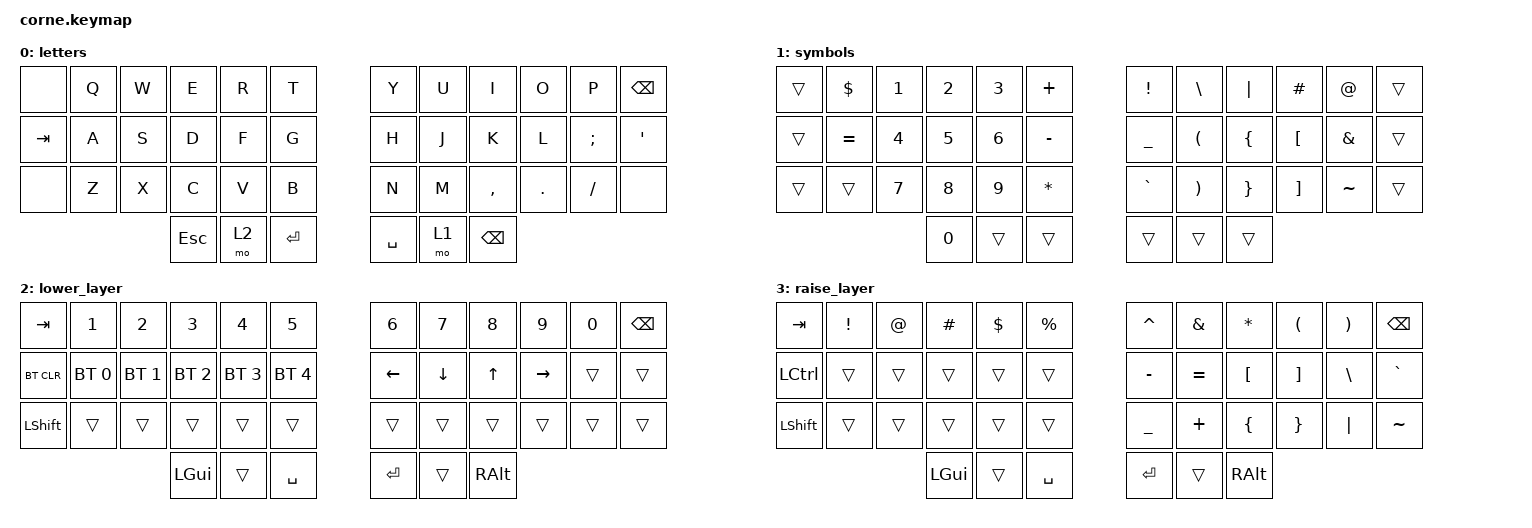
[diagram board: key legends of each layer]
/*
 * Copyright (c) 2020 The ZMK Contributors
 *
 * SPDX-License-Identifier: MIT
 */

#include <behaviors.dtsi>
#include <dt-bindings/zmk/bt.h>
#include <dt-bindings/zmk/keys.h>

/ {
    combos {
        compatible = "zmk,combos";

        left-shift {
            bindings = <&kp LEFT_SHIFT>;
            key-positions = <16 28>;
        };

        left-ctrl {
            bindings = <&kp LEFT_CONTROL>;
            key-positions = <15 27>;
        };

        left-alt {
            bindings = <&kp LEFT_ALT>;
            key-positions = <14 26>;
        };

        left-gui {
            bindings = <&kp LEFT_GUI>;
            key-positions = <13 25>;
        };

        right_shift {
            bindings = <&kp RIGHT_SHIFT>;
            key-positions = <19 31>;
        };

        right_ctrl {
            bindings = <&kp RIGHT_CONTROL>;
            key-positions = <20 32>;
        };

        right_alt {
            bindings = <&kp RIGHT_ALT>;
            key-positions = <21 33>;
        };

        right_gui {
            bindings = <&kp RIGHT_GUI>;
            key-positions = <22 34>;
        };
    };

    keymap {
        compatible = "zmk,keymap";

        letters {
            // -----------------------------------------------------------------------------------------
            // |  TAB |  Q  |  W  |  E  |  R  |  T  |   |  Y  |  U   |  I  |  O  |  P  | BSPC |
            // | CTRL |  A  |  S  |  D  |  F  |  G  |   |  H  |  J   |  K  |  L  |  ;  |  '   |
            // | SHFT |  Z  |  X  |  C  |  V  |  B  |   |  N  |  M   |  ,  |  .  |  /  | ESC  |
            //                    | GUI | LWR | SPC |   | ENT | RSE  | ALT |

            bindings = <
&none    &kp Q  &kp W  &kp E    &kp R  &kp T      &kp Y      &kp U  &kp I          &kp O    &kp P     &kp BSPC
&kp TAB  &kp A  &kp S  &kp D    &kp F  &kp G      &kp H      &kp J  &kp K          &kp L    &kp SEMI  &kp SQT
&none    &kp Z  &kp X  &kp C    &kp V  &kp B      &kp N      &kp M  &kp COMMA      &kp DOT  &kp FSLH  &none
                       &kp ESC  &mo 2  &kp RET    &kp SPACE  &mo 1  &kp BACKSPACE
            >;

            label = "letters";
        };

        nums+symbols {
            bindings = <
&trans  &kp DOLLAR  &kp N1  &kp N2  &kp N3  &kp PLUS        &kp EXCLAMATION  &kp BACKSLASH          &kp PIPE         &kp HASH  &kp AT_SIGN    &trans
&trans  &kp EQUAL   &kp N4  &kp N5  &kp N6  &kp MINUS       &kp UNDER        &kp LEFT_PARENTHESIS   &kp LEFT_BRACE   &kp LBKT  &kp AMPERSAND  &trans
&trans  &trans      &kp N7  &kp N8  &kp N9  &kp ASTERISK    &kp GRAVE        &kp RIGHT_PARENTHESIS  &kp RIGHT_BRACE  &kp RBKT  &kp TILDE      &trans
                            &kp N0  &trans  &trans          &trans           &trans                 &trans
            >;

            label = "symbols";
        };

        lower_layer {
            // -----------------------------------------------------------------------------------------
            // |  TAB |  1  |  2  |  3  |  4  |  5  |   |  6  |  7  |  8  |  9  |  0  | BSPC |
            // | BTCLR| BT1 | BT2 | BT3 | BT4 | BT5 |   | LFT | DWN |  UP | RGT |     |      |
            // | SHFT |     |     |     |     |     |   |     |     |     |     |     |      |
            //                    | GUI |     | SPC |   | ENT |     | ALT |

            bindings = <
&kp TAB     &kp N1        &kp N2        &kp N3        &kp N4        &kp N5          &kp N6    &kp N7    &kp N8    &kp N9     &kp N0  &kp BSPC
&bt BT_CLR  &bt BT_SEL 0  &bt BT_SEL 1  &bt BT_SEL 2  &bt BT_SEL 3  &bt BT_SEL 4    &kp LEFT  &kp DOWN  &kp UP    &kp RIGHT  &trans  &trans
&kp LSHFT   &trans        &trans        &trans        &trans        &trans          &trans    &trans    &trans    &trans     &trans  &trans
                                        &kp LGUI      &trans        &kp SPACE       &kp RET   &trans    &kp RALT
            >;
        };

        raise_layer {
            // -----------------------------------------------------------------------------------------
            // |  TAB |  !  |  @  |  #  |  $  |  %  |   |  ^  |  &  |  *  |  (  |  )  | BSPC |
            // | CTRL |     |     |     |     |     |   |  -  |  =  |  [  |  ]  |  \  |  `   |
            // | SHFT |     |     |     |     |     |   |  _  |  +  |  {  |  }  | "|" |  ~   |
            //                    | GUI |     | SPC |   | ENT |     | ALT |

            bindings = <
&kp TAB    &kp EXCL  &kp AT  &kp HASH  &kp DLLR  &kp PRCNT    &kp CARET  &kp AMPS   &kp ASTRK  &kp LPAR  &kp RPAR  &kp BSPC
&kp LCTRL  &trans    &trans  &trans    &trans    &trans       &kp MINUS  &kp EQUAL  &kp LBKT   &kp RBKT  &kp BSLH  &kp GRAVE
&kp LSHFT  &trans    &trans  &trans    &trans    &trans       &kp UNDER  &kp PLUS   &kp LBRC   &kp RBRC  &kp PIPE  &kp TILDE
                             &kp LGUI  &trans    &kp SPACE    &kp RET    &trans     &kp RALT
            >;
        };
    };
};
